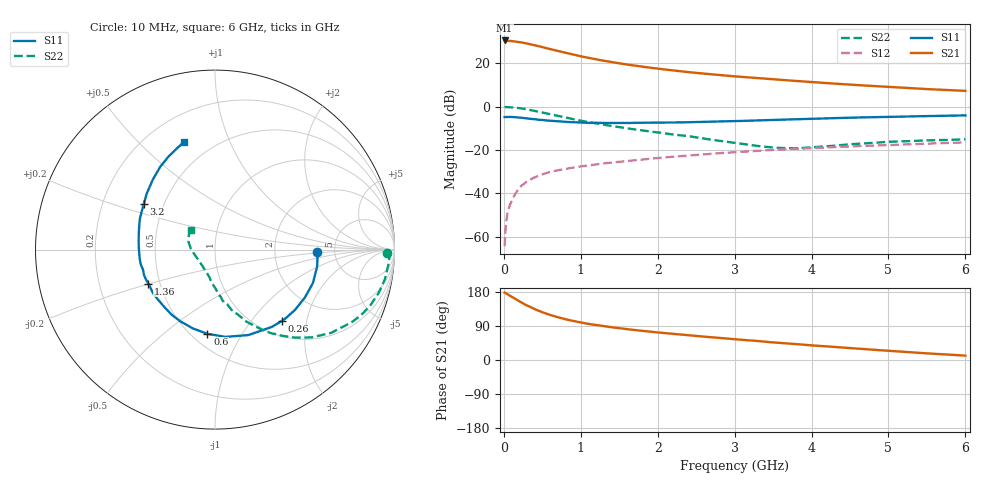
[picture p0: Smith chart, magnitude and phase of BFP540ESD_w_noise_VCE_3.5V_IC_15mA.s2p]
! Infineon Technologies  Discrete & RF Semiconductors
! BFP540ESD
! VCE =  3.5 V,  IC =  15 mA
! Common Emitter S-Parameters:  Nov 2015
# GHz  S  MA  R  50
!  f  S11  S21  S12  S22
! GHz  MAG  ANG  MAG  ANG  MAG  ANG  MAG  ANG
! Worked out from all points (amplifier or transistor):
!   210 points, 10 MHz to 6 GHz, reference 50 ohm
!   highest |S21| = 30.5 dB at 10 MHz (marker M1)
!   |S21| within 3 dB of that: start of sweep to 495.2 MHz
!   unconditionally stable (mu >= 1): start of sweep to 15.09 MHz; 2.399 GHz to end of sweep
!   at 185 MHz: K = 0.17, MSG = 34.1 dB, |S12| = -38.3 dB
!   at 1.52 GHz: K = 0.83, MSG = 22.6 dB, |S12| = -25.5 dB
!   at 6 GHz: K = 1.12, MAG = 9.7 dB, |S12| = -16.5 dB
!   lowest NFmin = 1.03 dB at 900 MHz
!   S11 on the Smith chart (normalised r, x): 10 MHz: 3.66, -0.14; 260 MHz: 1.27, -1.44; 600 MHz: 0.60, -0.72; 1.36 GHz: 0.43, -0.20; 3.2 GHz: 0.39, +0.25; 6 GHz: 0.35, +0.69
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0.01  0.5709 -1.3  33.47 177.8  0.0006 70.6  0.9567 -1.3
0.02  0.5727 -3.8  32.97 177.1  0.0013 60.7  0.9744 -1.7
0.05  0.5767 -9.3  32.91 173.1  0.0037 76.2  0.97 -4.8
0.1  0.5765 -18.8  32.45 167.0  0.0065 80.5  0.961 -9.9
0.15  0.5677 -28.0  31.75 160.9  0.0097 78.9  0.9437 -14.8
0.2  0.5582 -37.0  30.77 155.0  0.0133 77.3  0.9202 -19.6
0.26  0.5447 -47.0  29.43 148.3  0.0164 73.6  0.8862 -24.9
0.3  0.5343 -53.8  28.51 144.0  0.0186 72.1  0.8606 -28.2
0.4  0.5111 -68.7  25.97 134.4  0.0232 65.6  0.7955 -35.7
0.5  0.4898 -83.1  23.59 126.0  0.0273 62.2  0.727 -42.3
0.6  0.4711 -95.2  21.18 118.9  0.0308 59.3  0.6638 -47.6
0.8  0.4435 -116.0  17.37 107.6  0.0365 56.0  0.5555 -56.6
1.02  0.4253 -132.9  14.2 98.3  0.042 53.9  0.465 -63.7
1.36  0.4177 -153.1  10.93 87.6  0.05 51.9  0.3658 -72.7
1.7  0.4221 -169.0  8.796 79.0  0.0574 50.7  0.2968 -80.5
2.02  0.4244 179.5  7.411 72.4  0.0653 49.2  0.251 -85.5
2.6  0.4435 162.2  5.74 61.6  0.0787 46.3  0.1812 -97.0
3.1  0.4658 149.7  4.819 53.3  0.0904 43.1  0.1367 -109.8
3.2  0.4711 147.4  4.67 51.8  0.0927 42.3  0.1296 -114.0
4.1  0.5276 129.8  3.57 37.3  0.1116 35.2  0.1171 -166.6
5.1  0.5838 115.3  2.775 22.9  0.1309 27.1  0.1554 161.3
6  0.6249 105.8  2.298 11.5  0.149 20.7  0.175 140.5
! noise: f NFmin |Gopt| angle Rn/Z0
0.9  1.03  0.22  -135  0.11
1.8  1.2  0.25  -147  0.1
2.4  1.21  0.25  -139  0.1
3  1.32  0.29  -136  0.11
4  1.4  0.41  -108  0.2
5  1.57  0.5  -90  0.3
6  1.83  0.54  -91  0.52
